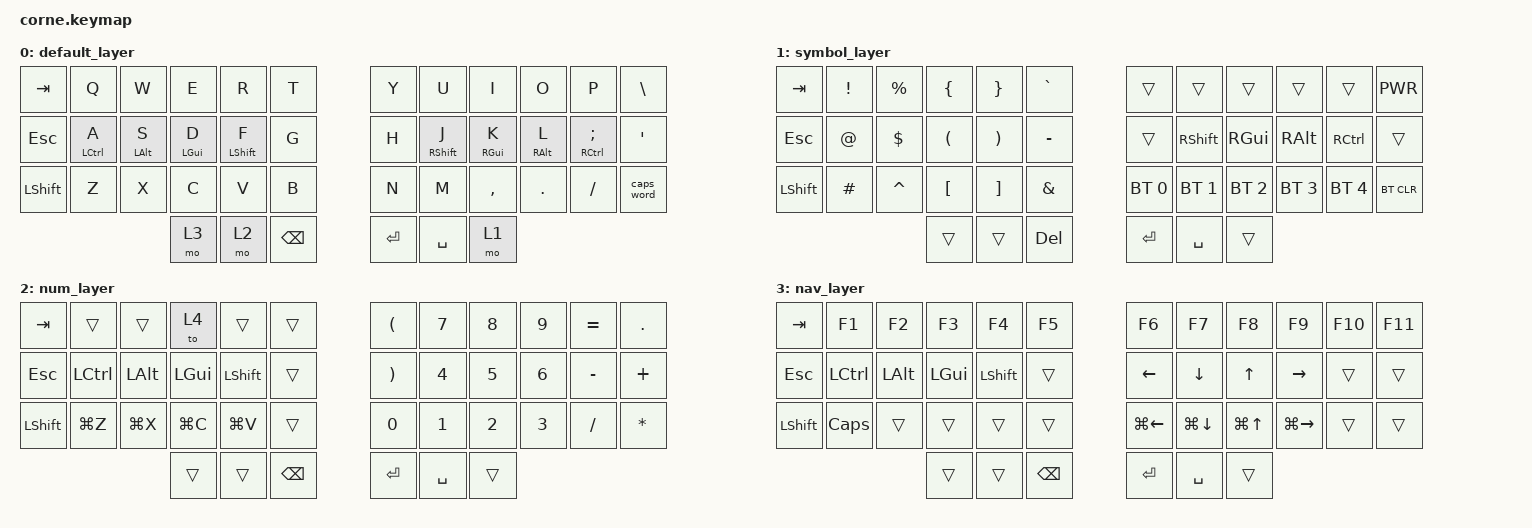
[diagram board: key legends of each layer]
/*
 * Copyright (c) 2020 The ZMK Contributors
 *
 * SPDX-License-Identifier: MIT
 */

#include <behaviors.dtsi>
#include <dt-bindings/zmk/keys.h>
#include <dt-bindings/zmk/bt.h>

/ {
	behaviors {
                hm: homerow_mods {
                        compatible = "zmk,behavior-hold-tap";
                        label = "HOMEROW_MODS";
                        #binding-cells = <2>;
                        tapping-term-ms = <150>;
                        quick-tap-ms = <125>;
                        flavor = "tap-preferred";
                        bindings = <&kp>, <&kp>;
                };
        };

        keymap {
                compatible = "zmk,keymap";

                default_layer {
// -----------------------------------------------------------------------------------------
// |  TAB |  Q  |  W  |  E  |  R  |  T  |   |  Y  |  U   |  I  |  O  |  P  |  \   |
// | ESC  |  A  |  S  |  D  |  F  |  G  |   |  H  |  J   |  K  |  L  |  ;  |  '   |
// | SHFT |  Z  |  X  |  C  |  V  |  B  |   |  N  |  M   |  ,  |  .  |  /  | SHFT |
//              | MO(3) | MO(2) | BSPC  |   | ENT | SPC  | MO(1) |
                        bindings = <
   &kp TAB   &kp Q       &kp W      &kp E      &kp R        &kp T      &kp Y   &kp U         &kp I        &kp O      &kp P          &kp BSLH
   &kp ESC   &hm LCTRL A &hm LALT S &hm LGUI D &hm LSHIFT F &kp G      &kp H   &hm RSHIFT J  &hm RGUI K   &hm RALT L &hm RCTRL SEMI &kp SQT
   &kp LSHFT &kp Z       &kp X      &kp C      &kp V        &kp B      &kp N   &kp M         &kp COMMA    &kp DOT    &kp FSLH       &caps_word
                                    &mo 3      &mo 2        &kp BSPC   &kp RET &kp SPC       &mo 1
                        >;
                };

                symbol_layer {
// -----------------------------------------------------------------------------------------
// |  TAB |  !  |  %  |  {  |  }  |  `   |   |      |        |      |      |       | K_PWR  |
// | ESC  |  @  |  $  |  (  |  )  |  -   |   |      | RSHIFT | RGUI | RALT | RCTRL |        |
// | SHFT |  #  |  ^  |  [  |  ]  |  &   |   | BT_0 |  BT_1  | BT_2 | BT_3 | BT_4  | BT_CLR |
//                    |     |     | DEL  |   | ENT  | SPC    |      |
                        bindings = <
   &kp TAB    &kp EXCL &kp PRCNT &kp LBRC  &kp RBRC  &kp GRAVE      &trans       &trans       &trans       &trans       &trans       &kp K_PWR
   &kp ESC    &kp AT   &kp DLLR  &kp LPAR  &kp RPAR  &kp MINUS      &trans       &kp RSHIFT   &kp RGUI     &kp RALT     &kp RCTRL    &trans
   &kp LSHFT  &kp HASH &kp CARET &kp LBKT  &kp RBKT  &kp AMPS       &bt BT_SEL 0 &bt BT_SEL 1 &bt BT_SEL 2 &bt BT_SEL 3 &bt BT_SEL 4 &bt BT_CLR
 		                 &trans    &trans    &kp DEL       &kp RET      &kp SPC      &trans
                        >;
                };

                num_layer {
// -----------------------------------------------------------------------------------------
// | TAB  |       |      | TO(4)|        |   |   |  (  |  7  |  8  |  9  |  =  |  .  |
// | ESC  | LCTRL | LALT | LGUI | LSHIFT |   |   |  )  |  4  |  5  |  6  |  -  |  +  |
// | SHFT | UNDO  | CUT  | COPY | PASTE  |   |   |  0  |  1  |  2  |  3  |  /  |  *  |
//                |      |      |  BSPC  |   |   | ENT | SPC |     |
                        bindings = <
   &kp TAB   &trans      &trans    &to 4      &trans     &trans      &kp LPAR &kp N7  &kp N8  &kp N9 &kp EQUAL &kp DOT
   &kp ESC   &kp LCTRL   &kp LALT  &kp LGUI   &kp LSHFT  &trans      &kp RPAR &kp N4  &kp N5  &kp N6 &kp MINUS &kp PLUS
   &kp LSHFT &kp LG(Z)   &kp LG(X) &kp LG(C)  &kp LG(V)  &trans      &kp N0   &kp N1  &kp N2  &kp N3 &kp FSLH  &kp ASTRK
                                   &trans     &trans     &kp BSPC    &kp RET  &kp SPC &trans
                        >;
                };

                nav_layer {
// -----------------------------------------------------------------------------------------
// | TAB  |  F1   |  F2  |  F3  |   F4   |  F5 |   |  F6   |  F7 |  F8   |  F9  |  F10 | F11 |
// | ESC  | LCTRL | LALT | LGUI | LSHIFT |     |   | LEFT | DOWN  |  UP | RIGHT |      |     |
// | SHFT | CAPS  |      |      |        |     |   | HOME | DDOWN | UUP |  END  |      |     |
//                |      |      |  BSPC  |     |   | ENT  |  SPC  |     |
                        bindings = <
   &kp TAB   &kp F1     &kp F2    &kp F3    &kp F4     &kp F5      &kp F6        &kp F7       &kp F8      &kp F9        &kp F10 &kp F11
   &kp ESC   &kp LCTRL  &kp LALT  &kp LGUI  &kp LSHFT  &trans      &kp LEFT      &kp DOWN     &kp UP      &kp RIGHT     &trans  &trans 
   &kp LSHFT &kp CAPS   &trans    &trans    &trans     &trans      &kp LG(LEFT)  &kp LG(DOWN) &kp LG(UP)  &kp LG(RIGHT) &trans  &trans
                                  &trans    &trans     &kp BSPC    &kp RET       &kp SPC      &trans
                        >;
                };
        };
};
